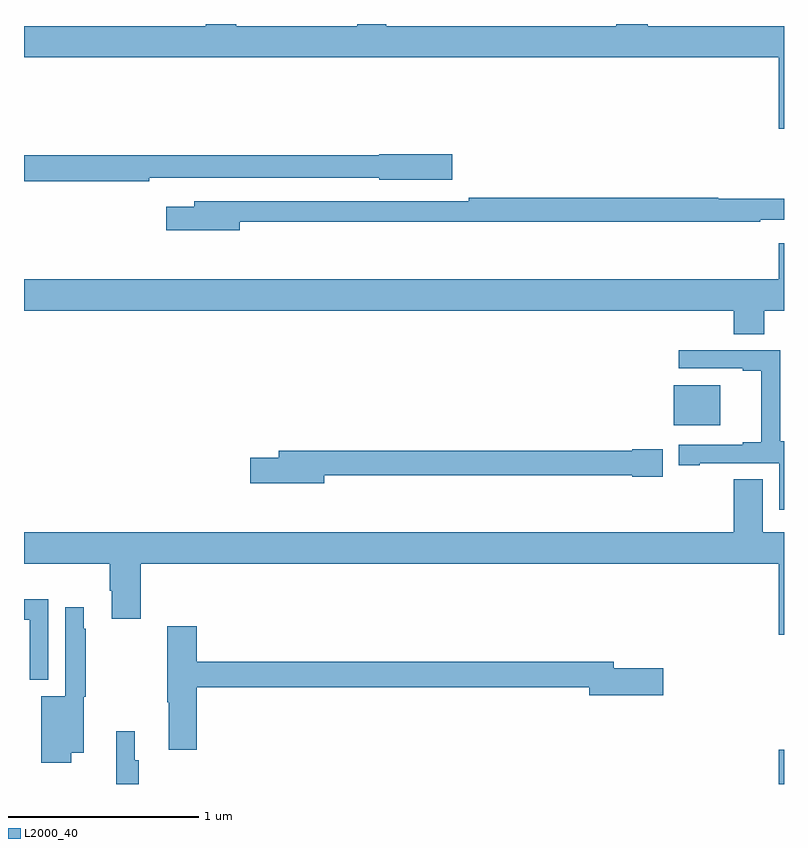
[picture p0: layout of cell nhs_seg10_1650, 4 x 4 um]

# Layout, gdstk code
import gdstk
lib = gdstk.Library(unit=1e-6, precision=1e-09)
def R(c, l, rs):  # rectangles x0, y0, x1, y1
    for r in rs: c.add(gdstk.rectangle(r[:2], r[2:], *l))
def P(c, l, *ps):  # polygons
    for p in ps: c.add(gdstk.Polygon(p, *l))
L2000_40 = (2000, 40)

nhs_seg10_1650 = lib.new_cell('nhs_seg10_1650')
R(nhs_seg10_1650, L2000_40, [(200.972,1288.5,201,1288.681), (200.42,1290.389,200.665,1290.598)])
P(nhs_seg10_1650, L2000_40, [(200.972,1291.95),(201,1291.95),(201,1292.488),(200.282,1292.488),(200.282,1292.5),(200.117,1292.5),(200.117,1292.488),(198.906,1292.488),(198.906,1292.5),(198.755,1292.5),(198.755,1292.488),(198.116,1292.488),(198.116,1292.5),(197.956,1292.5),(197.956,1292.488),(197,1292.488),(197,1292.324),(200.972,1292.324)],
  [(197.66,1291.692),(198.87,1291.692),(198.87,1291.679),(199.255,1291.679),(199.255,1291.814),(198.87,1291.814),(198.87,1291.808),(197,1291.808),(197,1291.672),(197.66,1291.672)],
  [(198.136,1291.458),(200.876,1291.458),(200.876,1291.47),(201,1291.47),(201,1291.579),(200.655,1291.579),(200.655,1291.586),(199.342,1291.586),(199.342,1291.566),(197.897,1291.566),(197.897,1291.537),(197.748,1291.537),(197.748,1291.415),(198.136,1291.415)],
  [(200.895,1290.992),(201,1290.992),(201,1291.345),(200.972,1291.345),(200.972,1291.156),(197,1291.156),(197,1290.992),(200.735,1290.992),(200.735,1290.868),(200.895,1290.868)],
  [(201,1290.305),(200.979,1290.305),(200.979,1290.783),(200.445,1290.783),(200.445,1290.687),(200.783,1290.687),(200.783,1290.675),(200.879,1290.675),(200.879,1290.298),(200.783,1290.298),(200.783,1290.285),(200.447,1290.285),(200.447,1290.177),(200.557,1290.177),(200.557,1290.189),(200.976,1290.189),(200.976,1289.943),(201,1289.943)],
  [(198.58,1290.126),(200.202,1290.126),(200.202,1290.118),(200.362,1290.118),(200.362,1290.262),(200.202,1290.262),(200.202,1290.254),(198.341,1290.254),(198.341,1290.218),(198.192,1290.218),(198.192,1290.083),(198.58,1290.083)],
  [(201,1289.824),(200.887,1289.824),(200.887,1290.104),(200.735,1290.104),(200.735,1289.824),(197,1289.824),(197,1289.66),(197.45,1289.66),(197.45,1289.518),(197.462,1289.518),(197.462,1289.37),(197.615,1289.37),(197.615,1289.66),(200.972,1289.66),(200.972,1289.286),(201,1289.286)],
  [(197.127,1289.472),(197,1289.472),(197,1289.364),(197.03,1289.364),(197.03,1289.048),(197.127,1289.048)],
  [(197.248,1288.664),(197.314,1288.664),(197.314,1288.959),(197.326,1288.959),(197.326,1289.318),(197.314,1289.318),(197.314,1289.431),(197.217,1289.431),(197.217,1288.963),(197.09,1288.963),(197.09,1288.611),(197.248,1288.611)],
  [(197.909,1289.008),(199.976,1289.008),(199.976,1288.966),(200.365,1288.966),(200.365,1289.108),(200.104,1289.108),(200.104,1289.144),(197.909,1289.144),(197.909,1289.329),(197.755,1289.329),(197.755,1288.931),(197.762,1288.931),(197.762,1288.68),(197.909,1288.68)],
  [(197.603,1288.626),(197.584,1288.626),(197.584,1288.777),(197.485,1288.777),(197.485,1288.5),(197.603,1288.5)])

lib.write_gds('nhs_seg10_1650.gds')
